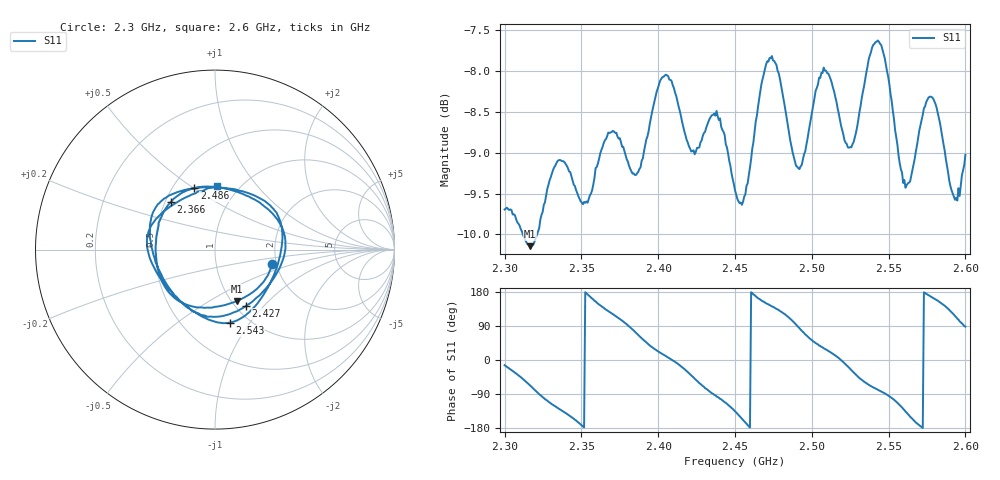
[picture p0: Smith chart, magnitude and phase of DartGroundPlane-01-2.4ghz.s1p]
! NanoVNA-App
! Date: 2026-05-25 02:03:08
! Start: 2.3GHz Stop: 2.6GHz Points: 401
! S-Parameter data: F S11
# Hz S RI R 50
!  Frequency  S11_Real  S11_Imag
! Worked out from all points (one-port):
!   401 points, 2.3 GHz to 2.6 GHz, reference 50 ohm
!   lowest |S11| = -10.1 dB at 2.317 GHz (marker M1), VSWR 1.90, Z = 52.9 - j33.5 ohm
!   |S11| at or under -10 dB: 2.311902 GHz to 2.321148 GHz (9.245 MHz wide, 0.399 % of centre)
!   S11 on the Smith chart (normalised r, x): 2.3 GHz: 1.90, -0.33; 2.366 GHz: 0.53, +0.33; 2.427 GHz: 1.12, -0.80; 2.486 GHz: 0.64, +0.50; 2.543 GHz: 0.82, -0.81; 2.6 GHz: 0.79, +0.64
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2.3e9  0.3182 -0.0778
2.3165e9  0.1218 -0.2862
2.327e9  -0.0873 -0.3223
2.3375e9  -0.2433 -0.2525
2.35175e9  -0.3308 -0.0117
2.366e9  -0.2472 0.2641
2.375e9  -0.1128 0.3441
2.3855e9  0.1069 0.3268
2.39675e9  0.3214 0.2
2.4125e9  0.3766 -0.0607
2.42675e9  0.173 -0.3128
2.43875e9  -0.0506 -0.37
2.45e9  -0.2378 -0.2382
2.468e9  -0.3563 0.1677
2.477e9  -0.2835 0.2843
2.486e9  -0.1153 0.3419
2.4875e9  -0.0793 0.3461
2.50625e9  0.3276 0.2246
2.51525e9  0.3754 0.0808
2.525e9  0.3278 -0.1429
2.53475e9  0.2013 -0.3379
2.543e9  0.0821 -0.4075
2.552e9  -0.0666 -0.3758
2.5625e9  -0.2698 -0.2065
2.5715e9  -0.3709 -0.0195
2.57975e9  -0.3627 0.1183
2.58725e9  -0.2724 0.2226
2.6e9  0.0119 0.3536
